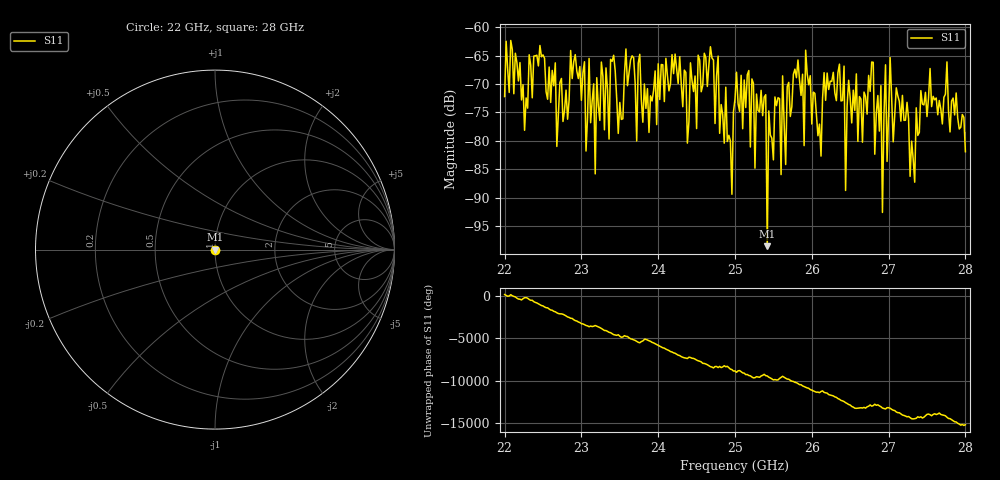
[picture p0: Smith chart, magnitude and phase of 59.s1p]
#  HZ  S  RI  R  50.00
! Rohde & Schwarz ZVA40 4Ports - Version 3.90 - 1145.1110k42 SN: 100403
! Date: 2023-10-04 07:50:16
! Measurement: S12
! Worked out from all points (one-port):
!   301 points, 22 GHz to 28 GHz, reference 50 ohm
!   lowest |S11| = -98.5 dB at 25.42 GHz (marker M1), VSWR 1.00, Z = 50 - j0.00118 ohm
!   |S11| at or under -10 dB: start of sweep to end of sweep
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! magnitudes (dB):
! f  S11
! 22 GHz  -72.2
! 22.08 GHz  -62.3
! 22.26 GHz  -78.1
! 22.46 GHz  -63.2
! 22.76 GHz  -76.6
! 22.86 GHz  -64.1
! 23.04 GHz  -66.1
! 23.06 GHz  -81.8
! 23.1 GHz  -65.5
! 23.18 GHz  -85.8
! 23.26 GHz  -66.1
! 23.3 GHz  -78.1
! 23.32 GHz  -67.2
! 23.36 GHz  -79.7
! 23.38 GHz  -65.7
! 23.5 GHz  -73.2
! 24.26 GHz  -69.9
! 25 GHz  -72.6
! 25.42 GHz  -98.5
! 25.76 GHz  -68.3
! 25.9 GHz  -80.8
! 25.92 GHz  -64.1
! 26.12 GHz  -82.7
! 26.16 GHz  -68.0
! 26.5 GHz  -72.5
! 27.26 GHz  -76.1
! 27.76 GHz  -66.1
! 28 GHz  -81.9
